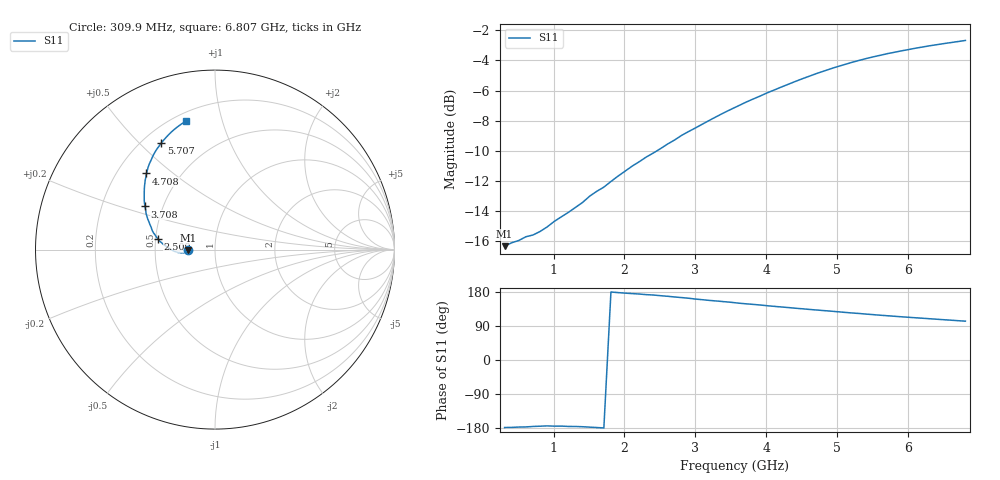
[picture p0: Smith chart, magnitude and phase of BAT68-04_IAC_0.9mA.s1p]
! Infineon Technologies  Discrete & RF Semiconductors
! BAT68-04
! IAC = 0.9 mA
! One-Port S-Parameters
# Hz  S  MA  R  50
!f  S11
!Hz  Mag  Ang
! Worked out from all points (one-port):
!   66 points, 309.9 MHz to 6.807 GHz, reference 50 ohm
!   lowest |S11| = -16.4 dB at 309.9 MHz (marker M1), VSWR 1.36, Z = 36.8 - j0.373 ohm
!   |S11| at or under -10 dB: start of sweep to 2.463 GHz
!   S11 on the Smith chart (normalised r, x): 309.9 MHz: 0.74, -0.01; 2.509 GHz: 0.52, +0.07; 3.708 GHz: 0.40, +0.24; 4.708 GHz: 0.32, +0.41; 5.707 GHz: 0.27, +0.58; 6.807 GHz: 0.25, +0.77
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3.0985e8  0.152 -178.1
6.097e8  0.1634 -176.6
8.096e8  0.1701 -174.7
9.0955e8  0.1762 -173.9
1.0095e9  0.1837 -174.6
1.2094e9  0.197 -175.4
1.4093e9  0.2126 -176.1
1.50925e9  0.223 -177.2
1.6092e9  0.2315 -178.2
1.70915e9  0.239 -179.3
2.009e9  0.2702 176.5
2.4088e9  0.3106 171.5
2.50875e9  0.3211 169.7
2.8086e9  0.3557 164.7
3.30835e9  0.4117 155.5
3.50825e9  0.4347 152.2
3.6082e9  0.446 150.1
3.70815e9  0.4579 148.3
3.90805e9  0.4798 145.2
4.4078e9  0.5373 136.7
4.70765e9  0.5708 132.0
4.90755e9  0.5921 128.9
5.2074e9  0.6221 124.1
5.4073e9  0.6403 121.2
5.70715e9  0.6649 116.8
6.007e9  0.6863 112.7
6.30685e9  0.7065 108.8
6.8066e9  0.7356 102.5
